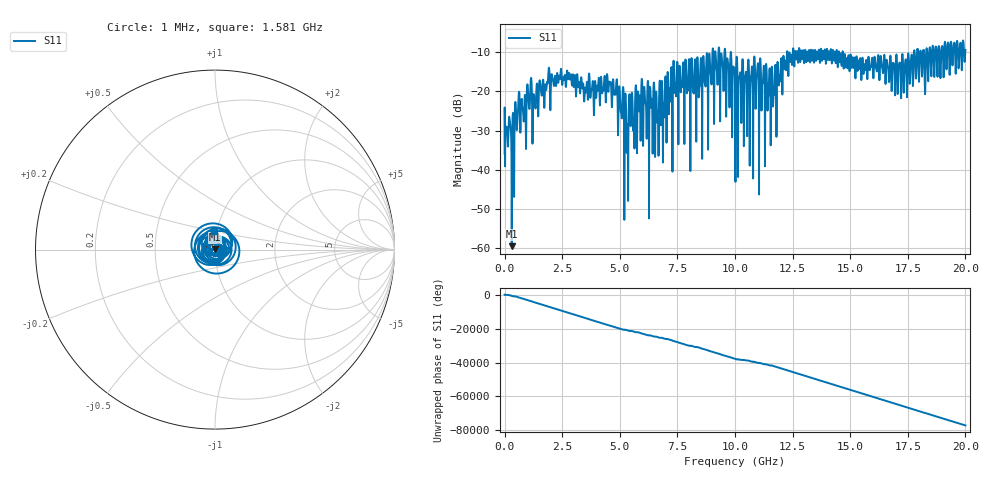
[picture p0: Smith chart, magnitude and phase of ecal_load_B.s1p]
! MS46122B
! 2250307/22442219
! 6/13/2025 3:23:11 PM
! C:\USERS\SPARKY\DOCUMENTS\VNA_DATA\JUNE13_2025\3.2K\ECAL_LOAD_C.S1P
! CHANNEL.1
! TR.MEASUREMENT
! RAW.DATA
# GHZ S RI R 50.0
! FREQ.GHZ  S11RE  S11IM
!; PortSelection: Port_1
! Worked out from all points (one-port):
!   10001 points, 1 MHz to 20 GHz, reference 50 ohm
!   lowest |S11| = -59.5 dB at 311 MHz (marker M1), VSWR 1.00, Z = 50 + j0.094 ohm
!   |S11| at or under -10 dB: start of sweep to 9.023 GHz; 9.824 GHz to 12.26 GHz (2.434 GHz wide, 22 % of centre); 14.68 GHz to 17.77 GHz (3.083 GHz wide, 19 % of centre) (the widest 3 of 49)
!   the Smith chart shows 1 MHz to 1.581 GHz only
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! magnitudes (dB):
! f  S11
! 1 MHz  -35.9
! 311 MHz  -59.5
! 549 MHz  -28.3
! 855 MHz  -23.8
! 1.071 GHz  -24.4
! 1.283 GHz  -21.7
! 1.859 GHz  -17.6
! 2.501 GHz  -18.4
! 3.805 GHz  -18.5
! 4.521 GHz  -18.6
! 5.001 GHz  -20.1
! 5.187 GHz  -29.1
! 5.283 GHz  -28.6
! 5.477 GHz  -28.4
! 5.663 GHz  -23.4
! 6.025 GHz  -24.6
! 6.609 GHz  -24.8
! 7.501 GHz  -12.6
! 8.499 GHz  -13.9
! 9.225 GHz  -15.8
! 10 GHz  -18.0
! 10.71 GHz  -15.7
! 10.91 GHz  -19.0
! 11.48 GHz  -16.4
! 12.5 GHz  -10.9
! 15 GHz  -11.4
! 17.5 GHz  -11.6
! 20 GHz  -9.4
